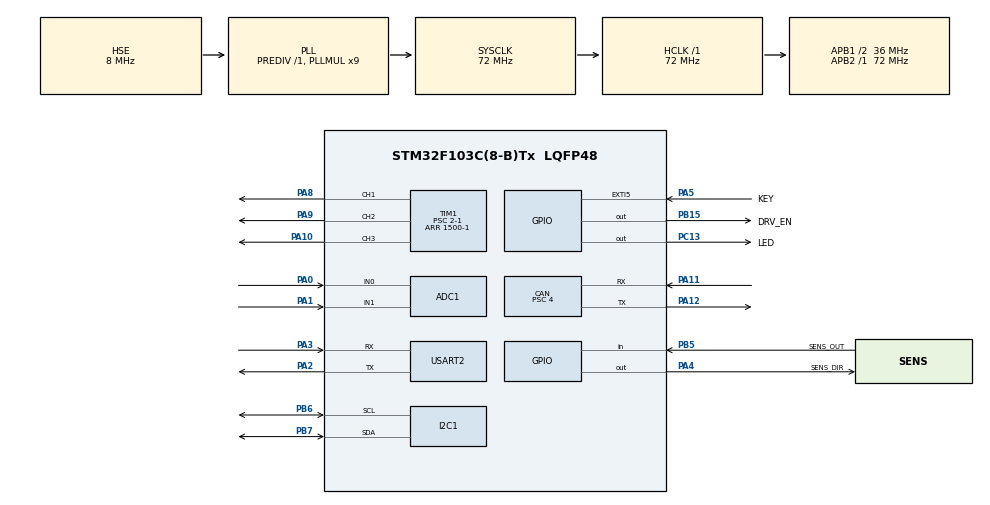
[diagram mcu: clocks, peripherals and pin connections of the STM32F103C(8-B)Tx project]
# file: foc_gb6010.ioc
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ADC1.Channel-1\#ChannelRegularConversion=ADC_CHANNEL_0
ADC1.Channel-2\#ChannelRegularConversion=ADC_CHANNEL_1
ADC1.ContinuousConvMode=ENABLE
ADC1.NbrOfConversion=2
ADC1.NbrOfConversionFlag=1
ADC1.Rank-1\#ChannelRegularConversion=1
ADC1.Rank-2\#ChannelRegularConversion=2
ADC1.SamplingTime-1\#ChannelRegularConversion=ADC_SAMPLETIME_239CYCLES_5
ADC1.SamplingTime-2\#ChannelRegularConversion=ADC_SAMPLETIME_239CYCLES_5
ADC1.master=1
CAN.BS1=CAN_BS1_9TQ
CAN.BS2=CAN_BS2_8TQ
CAN.CalculateBaudRate=500000
CAN.CalculateTimeBit=2000
CAN.CalculateTimeQuantum=111.11111111111111
CAN.NART=DISABLE
CAN.Prescaler=4
Dma.ADC1.0.Direction=DMA_PERIPH_TO_MEMORY
Dma.ADC1.0.Instance=DMA1_Channel1
Dma.ADC1.0.MemDataAlignment=DMA_MDATAALIGN_HALFWORD
Dma.ADC1.0.MemInc=DMA_MINC_ENABLE
Dma.ADC1.0.Mode=DMA_CIRCULAR
Dma.ADC1.0.PeriphDataAlignment=DMA_PDATAALIGN_HALFWORD
Dma.ADC1.0.PeriphInc=DMA_PINC_DISABLE
Dma.ADC1.0.Priority=DMA_PRIORITY_LOW
Dma.Request0=ADC1
I2C1.I2C_Mode=I2C_Fast
Mcu.Family=STM32F1
Mcu.Name=STM32F103C(8-B)Tx
Mcu.Package=LQFP48
NVIC.DMA1_Channel1_IRQn=true\:0\:0\:false\:false\:true\:false\:true\:true
NVIC.EXTI9_5_IRQn=true\:5\:0\:true\:false\:true\:true\:true\:true
NVIC.PriorityGroup=NVIC_PRIORITYGROUP_4
NVIC.TIM1_UP_IRQn=true\:0\:0\:true\:false\:true\:true\:true\:true
NVIC.TIM2_IRQn=true\:2\:0\:true\:false\:true\:true\:true\:true
NVIC.TIM3_IRQn=true\:1\:0\:true\:false\:true\:true\:true\:true
NVIC.TIM4_IRQn=true\:4\:0\:true\:false\:true\:true\:true\:true
NVIC.USB_HP_CAN1_TX_IRQn=true\:0\:0\:false\:false\:true\:true\:true\:true
NVIC.USB_LP_CAN1_RX0_IRQn=true\:0\:0\:false\:false\:true\:true\:true\:true
PA0-WKUP.Signal=ADCx_IN0
PA1.Signal=ADCx_IN1
PA10.Signal=S_TIM1_CH3
PA11.Mode=CAN_Activate
PA11.Signal=CAN_RX
PA12.Mode=CAN_Activate
PA12.Signal=CAN_TX
PA13.Mode=Serial_Wire
PA13.Signal=SYS_JTMS-SWDIO
PA14.Mode=Serial_Wire
PA14.Signal=SYS_JTCK-SWCLK
PA2.Mode=Asynchronous
PA2.Signal=USART2_TX
PA3.Mode=Asynchronous
PA3.Signal=USART2_RX
PA4.GPIO_Label=SENS_DIR
PA4.Signal=GPIO_Output
PA5.GPIO_Label=KEY
PA5.GPIO_ModeDefaultEXTI=GPIO_MODE_IT_FALLING
PA5.GPIO_PuPd=GPIO_PULLDOWN
PA5.Signal=GPXTI5
PA8.Signal=S_TIM1_CH1
PA9.Signal=S_TIM1_CH2
PB15.GPIO_Label=DRV_EN
PB15.Signal=GPIO_Output
PB5.GPIO_Label=SENS_OUT
PB5.Signal=GPIO_Input
PB6.Mode=I2C
PB6.Signal=I2C1_SCL
PB7.Mode=I2C
PB7.Signal=I2C1_SDA
PC13-TAMPER-RTC.GPIO_Label=LED
PC13-TAMPER-RTC.PinState=GPIO_PIN_RESET
PC13-TAMPER-RTC.Signal=GPIO_Output
PD0-OSC_IN.Mode=HSE-External-Oscillator
PD0-OSC_IN.Signal=RCC_OSC_IN
PD1-OSC_OUT.Mode=HSE-External-Oscillator
PD1-OSC_OUT.Signal=RCC_OSC_OUT
ProjectManager.HeapSize=0x1000
ProjectManager.StackSize=0x1000
ProjectManager.TargetToolchain=MDK-ARM V5
RCC.ADCPresc=RCC_ADCPCLK2_DIV6
RCC.AHBFreq_Value=72000000
RCC.APB1CLKDivider=RCC_HCLK_DIV2
RCC.APB1Freq_Value=36000000
RCC.APB1TimFreq_Value=72000000
RCC.APB2Freq_Value=72000000
RCC.APB2TimFreq_Value=72000000
RCC.HCLKFreq_Value=72000000
RCC.PLLMUL=RCC_PLL_MUL9
RCC.PLLSourceVirtual=RCC_PLLSOURCE_HSE
RCC.SYSCLKFreq_VALUE=72000000
RCC.SYSCLKSource=RCC_SYSCLKSOURCE_PLLCLK
RCC.USBFreq_Value=72000000
SH.ADCx_IN0.0=ADC1_IN0,IN0
SH.ADCx_IN1.0=ADC1_IN1,IN1
SH.S_TIM1_CH1.0=TIM1_CH1,PWM Generation1 CH1
SH.S_TIM1_CH2.0=TIM1_CH2,PWM Generation2 CH2
SH.S_TIM1_CH3.0=TIM1_CH3,PWM Generation3 CH3
TIM1.AutoReloadPreload=TIM_AUTORELOAD_PRELOAD_ENABLE
TIM1.Channel-PWM\ Generation1\ CH1=TIM_CHANNEL_1
TIM1.Channel-PWM\ Generation2\ CH2=TIM_CHANNEL_2
TIM1.Channel-PWM\ Generation3\ CH3=TIM_CHANNEL_3
TIM1.CounterMode=TIM_COUNTERMODE_CENTERALIGNED1
TIM1.Period=1500-1
TIM1.Prescaler=2-1
TIM2.Period=240-1
TIM2.Prescaler=300-1
TIM3.Period=72-1
TIM3.Prescaler=160-1
TIM4.Period=144-1
TIM4.Prescaler=160-1
USART2.VirtualMode=VM_ASYNC
VP_TIM1_VS_ClockSourceINT.Mode=Internal
VP_TIM2_VS_ClockSourceINT.Mode=Internal
VP_TIM3_VS_ClockSourceINT.Mode=Internal
VP_TIM4_VS_ClockSourceINT.Mode=Internal
board=custom

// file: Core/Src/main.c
/* USER CODE BEGIN Header */
/**
 ******************************************************************************
 * @file           : main.c
 * @brief          : Main program body
 ******************************************************************************
 * @attention
 *
 * Copyright (c) 2022 STMicroelectronics.
 * All rights reserved.
 *
 * This software is licensed under terms that can be found in the LICENSE file
 * in the root directory of this software component.
 * If no LICENSE file comes with this software, it is provided AS-IS.
 *
 ******************************************************************************
 */
/* USER CODE END Header */
#include "main.h"
#include "adc.h"
#include "can.h"
#include "dma.h"
#include "i2c.h"
#include "tim.h"
#include "usart.h"
#include "gpio.h"

/* USER CODE BEGIN Includes */

#include "stdio.h"

int fgetc(FILE *f)
{
  uint8_t ch = 0;
  HAL_UART_Receive(&huart2, &ch, 1, 0xffff);
  return ch;
}

int fputc(int ch, FILE *f)
{
  HAL_UART_Transmit(&huart2, (uint8_t *)&ch, 1, 0xffff);
  return ch;
}

#include "controll.h"
#include "AS5600.h"
#include "can.h"
#include "flash.h"

/* USER CODE END Includes */

void SystemClock_Config(void);

/* USER CODE BEGIN 0 */

uint16_t ADDR_ARRAY[] = {ADDR_ID,
                         ADDR_ENC_ZERO_POSITION_H, ADDR_ENC_ZERO_POSITION_L,
                         ADDR_PID_POS_KP_INT, ADDR_PID_POS_KP_DEC, ADDR_PID_POS_KI_INT, ADDR_PID_POS_KI_DEC, ADDR_PID_POS_MAX, ADDR_PID_POS_INTMAX,
                         ADDR_PID_VEL_KP_INT, ADDR_PID_VEL_KP_DEC, ADDR_PID_VEL_KI_INT, ADDR_PID_VEL_KI_DEC, ADDR_PID_VEL_MAX, ADDR_PID_VEL_INTMAX,
                         ADDR_PID_CUR_Q_KP_INT, ADDR_PID_CUR_Q_KP_DEC, ADDR_PID_CUR_Q_KI_INT, ADDR_PID_CUR_Q_KI_DEC, ADDR_PID_CUR_Q_MAX, ADDR_PID_CUR_Q_INTMAX,
                         ADDR_PID_CUR_D_KP_INT, ADDR_PID_CUR_D_KP_DEC, ADDR_PID_CUR_D_KI_INT, ADDR_PID_CUR_D_KI_DEC, ADDR_PID_CUR_D_MAX, ADDR_PID_CUR_D_INTMAX,
                         ADDR_FILT_VEL_CUTOFF_FREQ, ADDR_FILT_CUR_Q_CUTOFF_FREQ, ADDR_FILT_CUR_D_CUTOFF_FREQ,
                         ADDR_POSITION_LOWER_LIMIT, ADDR_POSITION_UPPER_LIMIT, ADDR_VELOCITY_LOWER_LIMIT, ADDR_VELOCITY_UPPER_LIMIT,
                         ADDR_CURRENT_Q_LOWER_LIMIT, ADDR_CURRENT_Q_UPPER_LIMIT, ADDR_CURRENT_D_LOWER_LIMIT, ADDR_CURRENT_D_UPPER_LIMIT,
                         ADDR_ELEC_ZERO_POSITION,
                         ADDR_ADC0_OFFSET, ADDR_ADC1_OFFSET};

// can test
CAN_TxHeaderTypeDef Can_Tx;
CAN_RxHeaderTypeDef Can_Rx;
uint8_t Rxdata[8];
uint8_t Txdata[8] = {0};
extern uint8_t can_rx_finish_flag;

extern _iq const_point;
extern uint16_t adc_dma_buf[NUMBER_ADC_CHANNEL * NUMBER_ADC_CHANNEL_AVERAGE_PER_CHANNEL];

encoder_typedef *oEncoder;
config_typedef *oConfig;
state_typedef *oState;

pid_typedef *oPidPosition;
pid_typedef *oPidVelocity;
pid_typedef *oPidCurrentD;
pid_typedef *oPidCurrentQ;

filter_typedef *oFilterVelocity;
filter_typedef *oFilterCurrentD;
filter_typedef *oFilterCurrentQ;

sdo_typedef *oSdo;
pdo_typedef *oPdo;

/* USER CODE END 0 */

int main(void)
{

  /* MCU Configuration--------------------------------------------------------*/

  /* Reset of all peripherals, Initializes the Flash interface and the Systick. */
  HAL_Init();

  /* Configure the system clock */
  SystemClock_Config();

  /* Initialize all configured peripherals */
  MX_GPIO_Init();
  MX_DMA_Init();
  MX_TIM1_Init();
  MX_USART2_UART_Init();
  MX_ADC1_Init();
  MX_I2C1_Init();
  MX_TIM2_Init();
  MX_TIM3_Init();
  MX_TIM4_Init();
  MX_CAN_Init();
  /* USER CODE BEGIN 2 */
  HAL_GPIO_WritePin(DRV_EN_GPIO_Port, DRV_EN_Pin, GPIO_PIN_SET);
  HAL_GPIO_WritePin(GPIOC, GPIO_PIN_13, GPIO_PIN_RESET);
  HAL_GPIO_WritePin(SENS_DIR_GPIO_Port, SENS_DIR_Pin, GPIO_PIN_RESET);
  HAL_ADC_Start_DMA(&hadc1, (uint32_t *)adc_dma_buf, NUMBER_ADC_CHANNEL * NUMBER_ADC_CHANNEL_AVERAGE_PER_CHANNEL);

  HAL_TIM_PWM_Start(&htim1, TIM_CHANNEL_1);
  HAL_TIM_PWM_Start(&htim1, TIM_CHANNEL_2);
  HAL_TIM_PWM_Start(&htim1, TIM_CHANNEL_3);

  // 上电时的先后逻辑需要重新check

  // 分配所有空间
  oEncoder = as5600_new();
  oEncoder->i2c_handle = &hi2c1;
  oEncoder->dir_port = SENS_DIR_GPIO_Port;
  oEncoder->dir_pin = SENS_DIR_Pin;
  oState = state_new();
  oPdo = pdo_new();
  oSdo = sdo_new();
  oConfig = config_new();

  oPidPosition = pid_new();
  oPidVelocity = pid_new();
  oPidCurrentQ = pid_new();
  oPidCurrentD = pid_new();

  oFilterVelocity = filter_new();
  oFilterCurrentD = filter_new();
  oFilterCurrentQ = filter_new();

  // 初始化as5600
  as5600_init(oEncoder);

  // 初始化pdo，状态量由pdo生成；主要是对目标值进行初始化：位置pi，速度0，电流0，模式0
  pdo_init(oPdo);
  // 初始化状态量，感觉这里可有可无，待测试
  state_init(oState);

  // 初始化sdo
  read_config(oSdo);

  // 初始化config, pid, filter
  para_init(oSdo, oConfig);

  CAN_User_Init(&hcan);

  HAL_TIM_Base_Start_IT(&htim1);
  HAL_TIM_Base_Start_IT(&htim2);
  HAL_TIM_Base_Start_IT(&htim3);
  HAL_TIM_Base_Start_IT(&htim4);

  HAL_Delay(1000);

  /* USER CODE END 2 */

  /* Infinite loop */
  /* USER CODE BEGIN WHILE */
  while (1)
  {

    //    printf("%.4f, %.4f, %.4f, %.4f, %.4f, %.4f, %.4f, %f\r\n", \
//        _IQtoF(oState->iqPos), _IQtoF(oState->iqTargP), _IQtoF(oState->iqVel), _IQtoF(oState->iqTargV), \
//        _IQtoF(oState->iqCurQ), _IQtoF(oState->iqTargQ), _IQtoF(oState->iqVoltQ), _IQ15toF(oPidPosition->Kp));

//      printf("%d, %.4f, %d\r\n", oConfig->ELEC_ZERO_POSITION, _IQtoF(oState->iqPosElec), oPdo->PDO_ACTUAL_POSITION);
      printf("%d, %d\r\n", oConfig->CONST_ADC0_OFFSET, oConfig->CONST_ADC1_OFFSET);

    HAL_Delay(100);

    /* USER CODE END WHILE */

  }
}

void SystemClock_Config(void)
{
  RCC_OscInitTypeDef RCC_OscInitStruct = {0};
  RCC_ClkInitTypeDef RCC_ClkInitStruct = {0};
  RCC_PeriphCLKInitTypeDef PeriphClkInit = {0};

  /** Initializes the RCC Oscillators according to the specified parameters
   * in the RCC_OscInitTypeDef structure.
   */
  RCC_OscInitStruct.OscillatorType = RCC_OSCILLATORTYPE_HSE;
  RCC_OscInitStruct.HSEState = RCC_HSE_ON;
  RCC_OscInitStruct.HSEPredivValue = RCC_HSE_PREDIV_DIV1;
  RCC_OscInitStruct.HSIState = RCC_HSI_ON;
  RCC_OscInitStruct.PLL.PLLState = RCC_PLL_ON;
  RCC_OscInitStruct.PLL.PLLSource = RCC_PLLSOURCE_HSE;
  RCC_OscInitStruct.PLL.PLLMUL = RCC_PLL_MUL9;
  if (HAL_RCC_OscConfig(&RCC_OscInitStruct) != HAL_OK)
  {
    Error_Handler();
  }

  /** Initializes the CPU, AHB and APB buses clocks
   */
  RCC_ClkInitStruct.ClockType = RCC_CLOCKTYPE_HCLK | RCC_CLOCKTYPE_SYSCLK | RCC_CLOCKTYPE_PCLK1 | RCC_CLOCKTYPE_PCLK2;
  RCC_ClkInitStruct.SYSCLKSource = RCC_SYSCLKSOURCE_PLLCLK;
  RCC_ClkInitStruct.AHBCLKDivider = RCC_SYSCLK_DIV1;
  RCC_ClkInitStruct.APB1CLKDivider = RCC_HCLK_DIV2;
  RCC_ClkInitStruct.APB2CLKDivider = RCC_HCLK_DIV1;

  if (HAL_RCC_ClockConfig(&RCC_ClkInitStruct, FLASH_LATENCY_2) != HAL_OK)
  {
    Error_Handler();
  }
  PeriphClkInit.PeriphClockSelection = RCC_PERIPHCLK_ADC;
  PeriphClkInit.AdcClockSelection = RCC_ADCPCLK2_DIV6;
  if (HAL_RCCEx_PeriphCLKConfig(&PeriphClkInit) != HAL_OK)
  {
    Error_Handler();
  }
}

void Error_Handler(void)
{
  __disable_irq();
  while (1)
  {
  }
}
